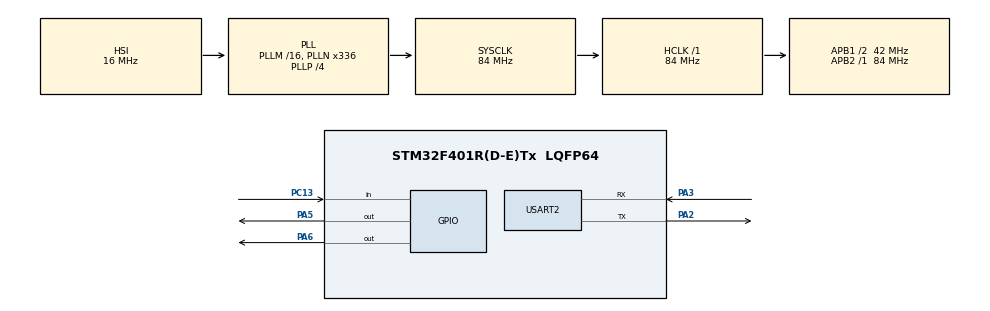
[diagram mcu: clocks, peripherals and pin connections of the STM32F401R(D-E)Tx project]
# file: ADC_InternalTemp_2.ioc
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ADC1.Channel-0\#ChannelRegularConversion=ADC_CHANNEL_TEMPSENSOR
ADC1.ContinuousConvMode=ENABLE
ADC1.EOCSelection=ADC_EOC_SEQ_CONV
ADC1.NbrOfConversionFlag=1
ADC1.Rank-0\#ChannelRegularConversion=1
ADC1.SamplingTime-0\#ChannelRegularConversion=ADC_SAMPLETIME_480CYCLES
ADC1.master=1
Mcu.Family=STM32F4
Mcu.Name=STM32F401R(D-E)Tx
Mcu.Package=LQFP64
NVIC.PriorityGroup=NVIC_PRIORITYGROUP_0
PA2.Mode=Asynchronous
PA2.Signal=USART2_TX
PA3.Mode=Asynchronous
PA3.Signal=USART2_RX
PA5.Signal=GPIO_Output
PA6.Signal=GPIO_Output
PC13-ANTI_TAMP.GPIO_PuPd=GPIO_PULLDOWN
PC13-ANTI_TAMP.Signal=GPIO_Input
ProjectManager.HeapSize=0x200
ProjectManager.StackSize=0x400
ProjectManager.TargetToolchain=STM32CubeIDE
RCC.AHBFreq_Value=84000000
RCC.APB1CLKDivider=RCC_HCLK_DIV2
RCC.APB1Freq_Value=42000000
RCC.APB1TimFreq_Value=84000000
RCC.APB2Freq_Value=84000000
RCC.APB2TimFreq_Value=84000000
RCC.CortexFreq_Value=84000000
RCC.HCLKFreq_Value=84000000
RCC.HSE_VALUE=8000000
RCC.HSI_VALUE=16000000
RCC.LSE_VALUE=32768
RCC.PLLN=336
RCC.PLLP=RCC_PLLP_DIV4
RCC.PLLQ=7
RCC.SYSCLKFreq_VALUE=84000000
RCC.SYSCLKSource=RCC_SYSCLKSOURCE_PLLCLK
RCC.VCOOutputFreq_Value=336000000
USART2.VirtualMode=VM_ASYNC
VP_ADC1_TempSens_Input.Mode=IN-TempSens
board=NUCLEO-F401RE

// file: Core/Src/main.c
/* USER CODE BEGIN Header */
/**
  ******************************************************************************
  * @file           : main.c
  * @brief          : Main program body
  ******************************************************************************
  * @attention
  *
  * Copyright (c) 2024 STMicroelectronics.
  * All rights reserved.
  *
  * This software is licensed under terms that can be found in the LICENSE file
  * in the root directory of this software component.
  * If no LICENSE file comes with this software, it is provided AS-IS.
  *
  ******************************************************************************
  */
/* USER CODE END Header */
#include "main.h"
#include "adc.h"
#include "usart.h"
#include "gpio.h"

/* USER CODE BEGIN Includes */

#include "stdio.h"
#include "read_temperature.h"
#include "button.h"

/* USER CODE END Includes */

/* USER CODE BEGIN PD */

#define TS			100	//Sampling Time
#define TB			TS/10	//Blinking Time
#define TRESHOLD 	22 //temperature treshold

/* USER CODE END PD */

void SystemClock_Config(void);

int main(void)
{

  /* MCU Configuration--------------------------------------------------------*/

  /* Reset of all peripherals, Initializes the Flash interface and the Systick. */
  HAL_Init();

  /* Configure the system clock */
  SystemClock_Config();

  /* Initialize all configured peripherals */
  MX_GPIO_Init();
  MX_ADC1_Init();
  MX_USART2_UART_Init();

  /* Infinite loop */
  /* USER CODE BEGIN WHILE */

  buttonDef button;
  button_init(&button, GPIOC, GPIO_PIN_13, GPIO_PIN_SET);

  uint16_t data_out;
  float V, T;
  uint32_t t,delay;
  GPIO_PinState b_state;
  printf("\033[0;0H\033[2J\n");

  HAL_ADC_Start(&hadc1);

  while (1)
  {
	  t = HAL_GetTick();
	  b_state=read_button(&button);

	  if (b_state==GPIO_PIN_RESET)
	  {
		  if (read_temperature_c(&data_out, &V, &T) == HAL_OK) //WARNING: IT IS A BLOCKING FUNCTION
			  printf("\r%u\t%.2f mV\t%.2f \xB0 C \n", data_out, V, T);
		  else
			  printf("\rConversion error \r\n");

		  HAL_GPIO_TogglePin(GPIOA, GPIO_PIN_5);
		  HAL_Delay(TB);
		  HAL_GPIO_TogglePin(GPIOA, GPIO_PIN_5);

	  }

	  if (T>TRESHOLD)
		  HAL_GPIO_WritePin(GPIOA, GPIO_PIN_6, GPIO_PIN_SET);
	  else
		  HAL_GPIO_WritePin(GPIOA, GPIO_PIN_6, GPIO_PIN_RESET);

	  delay = TS - ((HAL_GetTick()-t));
	  //printf("\rD = %lu \r\n", delay);
	  if (delay>0)
		  HAL_Delay(delay);

    /* USER CODE END WHILE */

  }
}

void SystemClock_Config(void)
{
  RCC_OscInitTypeDef RCC_OscInitStruct = {0};
  RCC_ClkInitTypeDef RCC_ClkInitStruct = {0};

  /** Configure the main internal regulator output voltage
  */
  __HAL_RCC_PWR_CLK_ENABLE();
  __HAL_PWR_VOLTAGESCALING_CONFIG(PWR_REGULATOR_VOLTAGE_SCALE2);

  /** Initializes the RCC Oscillators according to the specified parameters
  * in the RCC_OscInitTypeDef structure.
  */
  RCC_OscInitStruct.OscillatorType = RCC_OSCILLATORTYPE_HSI;
  RCC_OscInitStruct.HSIState = RCC_HSI_ON;
  RCC_OscInitStruct.HSICalibrationValue = RCC_HSICALIBRATION_DEFAULT;
  RCC_OscInitStruct.PLL.PLLState = RCC_PLL_ON;
  RCC_OscInitStruct.PLL.PLLSource = RCC_PLLSOURCE_HSI;
  RCC_OscInitStruct.PLL.PLLM = 16;
  RCC_OscInitStruct.PLL.PLLN = 336;
  RCC_OscInitStruct.PLL.PLLP = RCC_PLLP_DIV4;
  RCC_OscInitStruct.PLL.PLLQ = 7;
  if (HAL_RCC_OscConfig(&RCC_OscInitStruct) != HAL_OK)
  {
    Error_Handler();
  }

  /** Initializes the CPU, AHB and APB buses clocks
  */
  RCC_ClkInitStruct.ClockType = RCC_CLOCKTYPE_HCLK|RCC_CLOCKTYPE_SYSCLK
                              |RCC_CLOCKTYPE_PCLK1|RCC_CLOCKTYPE_PCLK2;
  RCC_ClkInitStruct.SYSCLKSource = RCC_SYSCLKSOURCE_PLLCLK;
  RCC_ClkInitStruct.AHBCLKDivider = RCC_SYSCLK_DIV1;
  RCC_ClkInitStruct.APB1CLKDivider = RCC_HCLK_DIV2;
  RCC_ClkInitStruct.APB2CLKDivider = RCC_HCLK_DIV1;

  if (HAL_RCC_ClockConfig(&RCC_ClkInitStruct, FLASH_LATENCY_2) != HAL_OK)
  {
    Error_Handler();
  }
}

/* USER CODE BEGIN 4 */

int _write(int file, char *ptr, int len)
{
	//NOT OPTIMIZED
	//It allows to use the printf() function to visualize data on a video terminal
    HAL_UART_Transmit(&huart2, (uint8_t *)ptr, len, HAL_MAX_DELAY);
    return len;
}

/* USER CODE END 4 */

void Error_Handler(void)
{
  __disable_irq();
  while (1)
  {
  }
}
